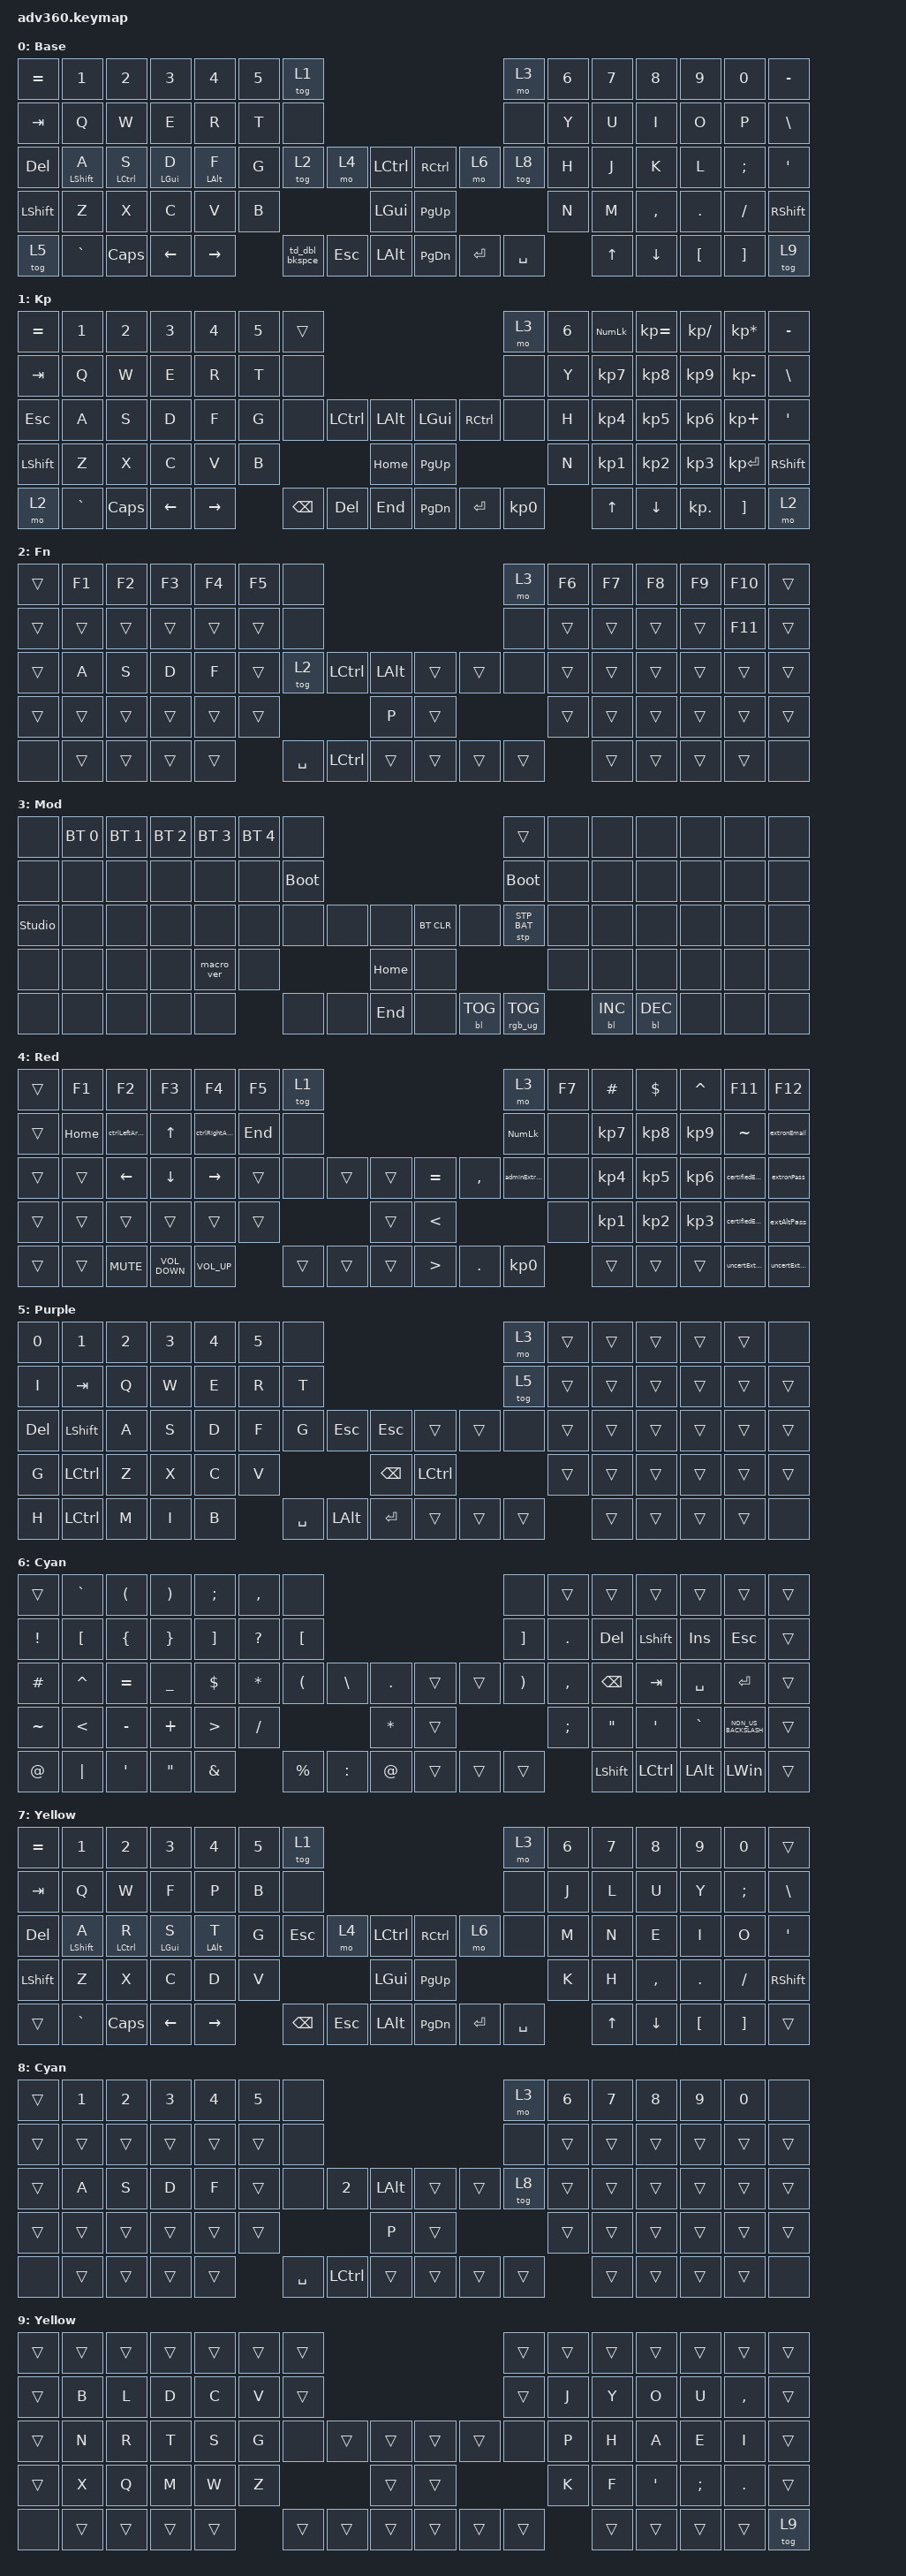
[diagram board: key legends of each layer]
#include <dt-bindings/zmk/stp.h>
#include <behaviors.dtsi>
#include <dt-bindings/zmk/backlight.h>
#include <dt-bindings/zmk/bt.h>
#include <dt-bindings/zmk/keys.h>
#include <dt-bindings/zmk/rgb.h>

/ {
    behaviors {
        #include "macros.dtsi"
      #include "version.dtsi"

        leftHRM: leftHRM {
            compatible = "zmk,behavior-hold-tap";
            label = "LEFTHRM";
            bindings = <&kp>, <&kp>;

            #binding-cells = <2>;
            flavor = "balanced";
            tapping-term-ms = <250>;
            quick-tap-ms = <175>;
            require-prior-idle-ms = <150>;
            hold-trigger-key-positions = <22 23 24 25 26 40 41 42 43 44 54 55 57 56 58 8 9 10 11 12 13 27 45 59 74 73 71 72 75 21 7 39 53 37 38 69 68 70>;
            hold-trigger-on-release;
        };

        rightHRM: rightHRM {
            compatible = "zmk,behavior-hold-tap";
            label = "RIGHTHRM";
            bindings = <&kp>, <&kp>;

            #binding-cells = <2>;
            flavor = "balanced";
            tapping-term-ms = <280>;
            quick-tap-ms = <175>;
            require-prior-idle-ms = <150>;
            hold-trigger-on-release;
            hold-trigger-key-positions = <0 1 2 3 4 5 6 14 15 16 17 18 19 20 28 29 30 31 32 33 34 35 36 46 47 48 49 50 51 52 60 61 62 63 64 65 66 67>;
        };

        td_dbl_bkspce: td_dbl_bkspce {
            compatible = "zmk,behavior-tap-dance";
            label = "TD_DBL_BKSPCE";
            #binding-cells = <0>;
            bindings = <&kp BACKSPACE>, <&kp LC(BACKSPACE)>;
        };
    };

    macros {
        extronEmail: extronEmail {
            compatible = "zmk,behavior-macro";
            #binding-cells = <0>;
            bindings =
                <&kp K &kp S &kp H &kp R &kp E &kp S &kp T &kp H &kp A>,
                <&macro_wait_time 75>,
                <&kt LSHIFT>,
                <&macro_wait_time 75>,
                <&kp N2>,
                <&macro_wait_time 75>,
                <&kt LSHIFT>,
                <&macro_wait_time 75>,
                <&kp E &kp X &kp T &kp R &kp O &kp N &kp DOT &kp C &kp O &kp M>;

            label = "EXTRONEMAIL";
            wait-ms = <25>;
        };

        extronPass: extronPass {
            compatible = "zmk,behavior-macro";
            #binding-cells = <0>;
            bindings =
                <&kt LSHIFT>,
                <&macro_wait_time 75>,
                <&kp K>,
                <&macro_wait_time 75>,
                <&kt LSHIFT>,
                <&macro_wait_time 75>,
                <&kp A &kp F &kp U &kp U>,
                <&macro_wait_time 75>,
                <&kt LSHIFT>,
                <&macro_wait_time 75>,
                <&kp K>,
                <&macro_wait_time 75>,
                <&kt LSHIFT>,
                <&macro_wait_time 75>,
                <&kp A &kp F &kp U &kp U &kp N2 &kp N0 &kp N1 &kp NUMBER_8 &kp EXCL>;

            label = "EXTRONPASS";
            wait-ms = <35>;
            tap-ms = <35>;
        };

        extAltPass: extAltPass {
            compatible = "zmk,behavior-macro";
            #binding-cells = <0>;
            bindings =
                <&macro_wait_time 75>,
                <&kt LSHIFT>,
                <&macro_wait_time 75>,
                <&kp K>,
                <&macro_wait_time 75>,
                <&kt LSHIFT>,
                <&macro_wait_time 75>,
                <&kp A &kp F &kp U &kp U &kp U &kp N1 &kp N9 &kp N9 &kp N8>,
                <&macro_wait_time 75>,
                <&kt LSHIFT>,
                <&macro_wait_time 75>,
                <&kp N1>,
                <&macro_wait_time 75>,
                <&kt LSHIFT>,
                <&macro_wait_time 75>;

            label = "EXTALTPASS";
            wait-ms = <35>;
            tap-ms = <35>;
        };

        adminExtron: adminExtron {
            compatible = "zmk,behavior-macro";
            #binding-cells = <0>;
            bindings = <&kp A &kp D &kp M &kp I &kp N &kp TAB &kp E &kp X &kp T &kp R &kp O &kp N>;
            label = "ADMINEXTRON";
        };

        ctrlLeftArrow: ctrlLeftArrow {
            compatible = "zmk,behavior-macro";
            #binding-cells = <0>;
            bindings =
                <&macro_press>,
                <&kp LCTRL>,
                <&macro_tap>,
                <&kp LEFT_ARROW>,
                <&macro_release>,
                <&kp LCTRL>;

            label = "CTRLLEFTARROW";
        };

        ctrlRightArrow: ctrlRightArrow {
            compatible = "zmk,behavior-macro";
            #binding-cells = <0>;
            bindings =
                <&macro_press>,
                <&kp LCTRL>,
                <&macro_tap>,
                <&kp RIGHT_ARROW>,
                <&macro_release>,
                <&kp LCTRL>;

            label = "CTRLRIGHTARROW";
        };

        ctrlBackspace: ctrlBackspace {
            compatible = "zmk,behavior-macro";
            #binding-cells = <0>;
            bindings =
                <&macro_press>,
                <&kp LCTRL>,
                <&macro_tap>,
                <&kp BACKSPACE>,
                <&macro_release>,
                <&kp LCTRL>;

            label = "CTRLBACKSPACE";
        };

        certifiedExtron: certifiedExtron {
            compatible = "zmk,behavior-macro";
            #binding-cells = <0>;
            bindings = <&kp LS(E) &kp X &kp T &kp R &kp O &kp N &kp T &kp E &kp S &kp T &kp N2 &kp AT &kp G &kp M &kp A &kp I &kp L &kp DOT &kp C &kp O &kp M>;
            label = "CERTIFIEDEXTRON";
        };

        certifiedExtronPass: certifiedExtronPass {
            compatible = "zmk,behavior-macro";
            #binding-cells = <0>;
            bindings = <&kp N8 &kp Y &kp TILDE &kp N2 &kp D &kp N3 &kp E &kp LS(B) &kp LS(G) &kp LS(L) &kp R &kp J &kp LS(H) &kp LS(N) &kp P &kp UNDER>;
            label = "CERTIFIEDEXTRONPASS";
        };

        uncertExtron: uncertExtron {
            compatible = "zmk,behavior-macro";
            #binding-cells = <0>;
            bindings = <&kp LS(E) &kp X &kp T &kp R &kp O &kp N &kp T &kp E &kp S &kp T &kp N1 &kp AT &kp G &kp M &kp A &kp I &kp L &kp DOT &kp C &kp O &kp M>;
            label = "UNCERTEXTRON";
        };

        uncertExtronPass: uncertExtronPass {
            compatible = "zmk,behavior-macro";
            #binding-cells = <0>;
            bindings = <&kp COLON &kp CARET &kp N3 &kp R &kp LS(L) &kp LS(T) &kp LS(G) &kp V &kp LS(K) &kp LS(L) &kp LS(L) &kp LS(Y) &kp LS(T) &kp N2 &kp LS(Z) &kp LS(U)>;
            label = "UNCERTEXTRONPASS";
        };
    };

    keymap {
        compatible = "zmk,keymap";

        default_layer {
            display-name = "Base";
            bindings = <
&kp EQUAL  &kp N1                 &kp N2            &kp N3               &kp N4               &kp N5  &tog 1                                                                       &mo 3      &kp N6  &kp N7  &kp N8     &kp N9    &kp N0         &kp MINUS
&kp TAB    &kp Q                  &kp W             &kp E                &kp R                &kp T   &none                                                                        &none      &kp Y   &kp U   &kp I      &kp O     &kp P          &kp BSLH
&kp DEL    &leftHRM LEFT_SHIFT A  &leftHRM LCTRL S  &leftHRM LEFT_GUI D  &leftHRM LEFT_ALT F  &kp G   &tog 2          &mo 4    &kp LEFT_CONTROL      &kp RIGHT_CONTROL  &mo 6      &tog 8     &kp H   &kp J   &kp K      &kp L     &kp SEMICOLON  &kp SQT
&kp LSHFT  &kp Z                  &kp X             &kp C                &kp V                &kp B                            &kp LGUI              &kp PAGE_UP                              &kp N   &kp M   &kp COMMA  &kp DOT   &kp FSLH       &kp RSHFT
&tog 5     &kp GRAVE              &kp CAPS          &kp LEFT             &kp RIGHT                    &td_dbl_bkspce  &kp ESC  &kp LEFT_ALT          &kp PAGE_DOWN      &kp ENTER  &kp SPACE          &kp UP  &kp DOWN   &kp LBKT  &kp RBKT       &tog 9
            >;
        };

        keypad {
            display-name = "Kp";
            bindings = <
&kp EQUAL  &kp N1     &kp N2    &kp N3    &kp N4     &kp N5  &trans                                                   &mo 3      &kp N6  &kp KP_NUM  &kp KP_EQUAL  &kp KP_DIVIDE  &kp KP_MULTIPLY  &kp MINUS
&kp TAB    &kp Q      &kp W     &kp E     &kp R      &kp T   &none                                                    &none      &kp Y   &kp KP_N7   &kp KP_N8     &kp KP_N9      &kp KP_MINUS     &kp BSLH
&kp ESC    &kp A      &kp S     &kp D     &kp F      &kp G   &none     &kp LCTRL  &kp LALT      &kp LGUI   &kp RCTRL  &none      &kp H   &kp KP_N4   &kp KP_N5     &kp KP_N6      &kp KP_PLUS      &kp SQT
&kp LSHFT  &kp Z      &kp X     &kp C     &kp V      &kp B                        &kp HOME      &kp PG_UP                        &kp N   &kp KP_N1   &kp KP_N2     &kp KP_N3      &kp KP_ENTER     &kp RSHFT
&mo 2      &kp GRAVE  &kp CAPS  &kp LEFT  &kp RIGHT          &kp BSPC  &kp DEL    &kp END       &kp PG_DN  &kp ENTER  &kp KP_N0          &kp UP      &kp DOWN      &kp KP_DOT     &kp RBKT         &mo 2
            >;
        };

        fn {
            display-name = "Fn";
            bindings = <
&trans  &kp F1  &kp F2  &kp F3  &kp F4  &kp F5  &none                                                   &mo 3   &kp F6  &kp F7  &kp F8  &kp F9  &kp F10  &trans
&trans  &trans  &trans  &trans  &trans  &trans  &none                                                   &none   &trans  &trans  &trans  &trans  &kp F11  &trans
&trans  &kp A   &kp S   &kp D   &kp F   &trans  &tog 2     &kp LCTRL  &kp LEFT_ALT      &trans  &trans  &none   &trans  &trans  &trans  &trans  &trans   &trans
&trans  &trans  &trans  &trans  &trans  &trans                        &kp P             &trans                  &trans  &trans  &trans  &trans  &trans   &trans
&none   &trans  &trans  &trans  &trans          &kp SPACE  &kp LCTRL  &trans            &trans  &trans  &trans          &trans  &trans  &trans  &trans   &none
            >;
        };

        mod {
            display-name = "Mod";
            bindings = <
&none           &bt BT_SEL 0  &bt BT_SEL 1  &bt BT_SEL 2  &bt BT_SEL 3  &bt BT_SEL 4  &none                                                     &trans           &none  &none       &none       &none  &none  &none
&none           &none         &none         &none         &none         &none         &bootloader                                               &bootloader      &none  &none       &none       &none  &none  &none
&studio_unlock  &none         &none         &none         &none         &none         &none        &none  &none         &bt BT_CLR  &none       &stp STP_BAT     &none  &none       &none       &none  &none  &none
&none           &none         &none         &none         &macro_ver    &none                             &kp HOME      &none                                    &none  &none       &none       &none  &none  &none
&none           &none         &none         &none         &none                       &none        &none  &kp END       &none       &bl BL_TOG  &rgb_ug RGB_TOG         &bl BL_INC  &bl BL_DEC  &none  &none  &none
            >;
        };

        ArrowNumMac {
            display-name = "Red";
            bindings = <
&trans  &kp F1    &kp F2          &kp F3             &kp F4           &kp F5   &tog 1                                                    &mo 3            &kp F7  &kp POUND        &kp DOLLAR       &kp CARET        &kp F11               &kp F12
&trans  &kp HOME  &ctrlLeftArrow  &kp UP             &ctrlRightArrow  &kp END  &none                                                     &kp KP_NUMLOCK   &none   &kp KP_NUMBER_7  &kp KP_NUMBER_8  &kp KP_NUMBER_9  &kp TILDE             &extronEmail
&trans  &trans    &kp LEFT        &kp DOWN           &kp RIGHT        &trans   &none   &trans  &trans      &kp EQUAL         &kp COMMA   &adminExtron     &none   &kp KP_NUMBER_4  &kp KP_NUMBER_5  &kp KP_NUMBER_6  &certifiedExtron      &extronPass
&trans  &trans    &trans          &trans             &trans           &trans                   &trans      &kp LESS_THAN                                  &none   &kp KP_NUMBER_1  &kp KP_NUMBER_2  &kp KP_NUMBER_3  &certifiedExtronPass  &extAltPass
&trans  &trans    &kp K_MUTE      &kp C_VOLUME_DOWN  &kp C_VOLUME_UP           &trans  &trans  &trans      &kp GREATER_THAN  &kp PERIOD  &kp KP_NUMBER_0          &trans           &trans           &trans           &uncertExtron         &uncertExtronPass
            >;
        };

        WASD {
            display-name = "Purple";
            bindings = <
&kp NUMBER_0  &kp NUMBER_1      &kp NUMBER_2  &kp NUMBER_3  &kp NUMBER_4  &kp N5  &none                                                      &mo 3   &trans  &trans  &trans  &trans  &trans  &none
&kp I         &kp TAB           &kp Q         &kp W         &kp E         &kp R   &kp T                                                      &tog 5  &trans  &trans  &trans  &trans  &trans  &trans
&kp DELETE    &kp LEFT_SHIFT    &kp A         &kp S         &kp D         &kp F   &kp G      &kp ESCAPE    &kp ESC        &trans     &trans  &none   &trans  &trans  &trans  &trans  &trans  &trans
&kp G         &kp LEFT_CONTROL  &kp Z         &kp X         &kp C         &kp V                            &kp BSPC       &kp LCTRL                  &trans  &trans  &trans  &trans  &trans  &trans
&kp H         &kp LCTRL         &kp M         &kp I         &kp B                 &kp SPACE  &kp LEFT_ALT  &kp ENTER      &trans     &trans  &trans          &trans  &trans  &trans  &trans  &none
            >;
        };

        Symbol {
            display-name = "Cyan";
            bindings = <
&trans           &kp GRAVE         &kp LEFT_PARENTHESIS  &kp RIGHT_PARENTHESIS  &kp SEMICOLON      &kp COMMA     &none                                                                  &none                  &trans      &trans             &trans          &trans        &trans                &trans
&kp EXCLAMATION  &kp LEFT_BRACKET  &kp LEFT_BRACE        &kp RIGHT_BRACE        &kp RIGHT_BRACKET  &kp QUESTION  &kp LEFT_BRACKET                                                       &kp RIGHT_BRACKET      &kp PERIOD  &kp DELETE         &kp LEFT_SHIFT  &kp INSERT    &kp ESCAPE            &trans
&kp POUND        &kp CARET         &kp EQUAL             &kp UNDERSCORE         &kp DOLLAR         &kp ASTERISK  &kp LEFT_PARENTHESIS  &kp BACKSLASH  &kp PERIOD        &trans  &trans  &kp RIGHT_PARENTHESIS  &kp COMMA   &kp BACKSPACE      &kp TAB         &kp SPACE     &kp ENTER             &trans
&kp TILDE        &kp LESS_THAN     &kp MINUS             &kp PLUS               &kp GREATER_THAN   &kp SLASH                                          &kp ASTERISK      &trans                                 &kp SEMI    &kp DOUBLE_QUOTES  &kp SQT         &kp GRAVE     &kp NON_US_BACKSLASH  &trans
&kp AT_SIGN      &kp PIPE          &kp SINGLE_QUOTE      &kp DOUBLE_QUOTES      &kp AMPERSAND                    &kp PERCENT           &kp COLON      &kp AT_SIGN       &trans  &trans  &trans                             &kp LEFT_SHIFT     &kp LCTRL       &kp LEFT_ALT  &kp LEFT_WIN          &trans
            >;
        };

        CokemakDH {
            display-name = "Yellow";
            bindings = <
&kp EQUAL  &kp N1                 &kp N2            &kp N3               &kp N4               &kp N5  &tog 1                                                                   &mo 3      &kp N6  &kp N7  &kp N8     &kp N9      &kp N0         &trans
&kp TAB    &kp Q                  &kp W             &kp F                &kp P                &kp B   &none                                                                    &none      &kp J   &kp L   &kp U      &kp Y       &kp SEMICOLON  &kp BSLH
&kp DEL    &leftHRM LEFT_SHIFT A  &leftHRM LCTRL R  &leftHRM LEFT_GUI S  &leftHRM LEFT_ALT T  &kp G   &kp ESCAPE  &mo 4    &kp LEFT_CONTROL      &kp RIGHT_CONTROL  &mo 6      &none      &kp M   &kp N   &kp E      &kp I       &kp O          &kp SQT
&kp LSHFT  &kp Z                  &kp X             &kp C                &kp D                &kp V                        &kp LGUI              &kp PAGE_UP                              &kp K   &kp H   &kp COMMA  &kp PERIOD  &kp SLASH      &kp RSHFT
&trans     &kp GRAVE              &kp CAPS          &kp LEFT             &kp RIGHT                    &kp BSPC    &kp ESC  &kp LEFT_ALT          &kp PAGE_DOWN      &kp ENTER  &kp SPACE          &kp UP  &kp DOWN   &kp LBKT    &kp RBKT       &trans
            >;
        };

        NoHomeRow {
            display-name = "Cyan";
            bindings = <
&trans  &kp NUMBER_1  &kp NUMBER_2  &kp NUMBER_3  &kp NUMBER_4  &kp NUMBER_5  &none                                                      &mo 3   &kp NUMBER_6  &kp NUMBER_7  &kp NUMBER_8  &kp NUMBER_9  &kp NUMBER_0  &none
&trans  &trans        &trans        &trans        &trans        &trans        &none                                                      &none   &trans        &trans        &trans        &trans        &trans        &trans
&trans  &kp A         &kp S         &kp D         &kp F         &trans        &none      &kp NUMBER_2  &kp LEFT_ALT      &trans  &trans  &tog 8  &trans        &trans        &trans        &trans        &trans        &trans
&trans  &trans        &trans        &trans        &trans        &trans                                 &kp P             &trans                  &trans        &trans        &trans        &trans        &trans        &trans
&none   &trans        &trans        &trans        &trans                      &kp SPACE  &kp LCTRL     &trans            &trans  &trans  &trans                &trans        &trans        &trans        &trans        &none
            >;
        };

        Gallium {
            bindings = <
&trans  &trans  &trans  &trans  &trans  &trans  &trans                                      &trans  &trans  &trans  &trans    &trans    &trans     &trans
&trans  &kp B   &kp L   &kp D   &kp C   &kp V   &trans                                      &trans  &kp J   &kp Y   &kp O     &kp U     &kp COMMA  &trans
&trans  &kp N   &kp R   &kp T   &kp S   &kp G   &none   &trans  &trans      &trans  &trans  &none   &kp P   &kp H   &kp A     &kp E     &kp I      &trans
&trans  &kp X   &kp Q   &kp M   &kp W   &kp Z                   &trans      &trans                  &kp K   &kp F   &kp APOS  &kp SEMI  &kp DOT    &trans
&none   &trans  &trans  &trans  &trans          &trans  &trans  &trans      &trans  &trans  &trans          &trans  &trans    &trans    &trans     &tog 9
            >;

            label = "Yellow";
        };
    };
};
